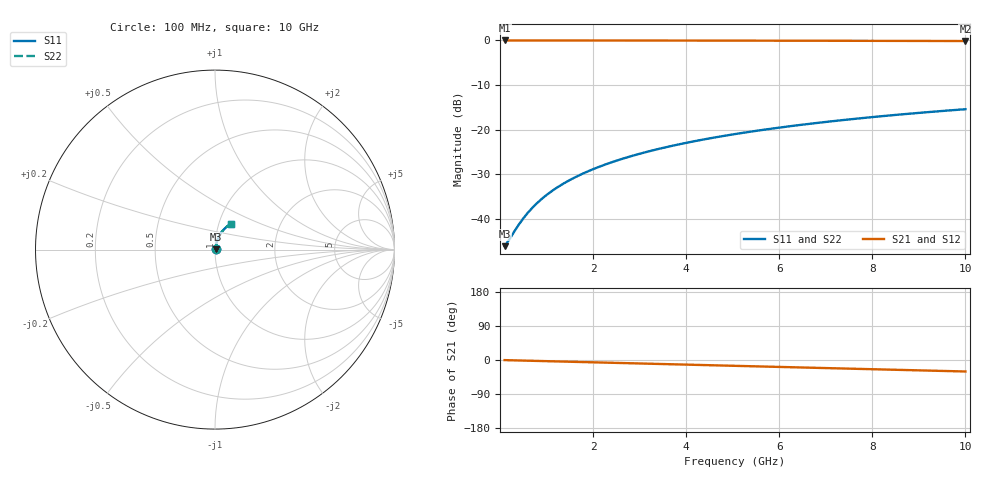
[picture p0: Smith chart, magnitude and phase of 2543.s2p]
# Hz S RI R 50.00
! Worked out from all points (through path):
!   100 points, 100 MHz to 10 GHz, reference 50 ohm
!   highest |S21| = -0.04 dB at 100 MHz (marker M1); lowest = -0.2 dB at 10 GHz (marker M2)
!   group delay of S21, straight-line fit = 8.43 ps
!   lowest |S11| = -46.1 dB at 100 MHz (marker M3), VSWR 1.01, Z = 50.5 + j0.178 ohm
!   |S11| at or under -10 dB: start of sweep to end of sweep
!   |S22| runs from -46.1 to -15.4 dB; largest |S21 - S12| = 0
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1e8  0.0046 0.00176  0.9954 -0.0053  0.9954 -0.0053  0.0046 0.00176
2e8  0.00466 0.00352  0.9953 -0.0106  0.9953 -0.0106  0.00466 0.00352
4e8  0.00481 0.00703  0.9951 -0.0212  0.9951 -0.0212  0.00481 0.00703
5e8  0.00491 0.00879  0.9949 -0.0265  0.9949 -0.0265  0.00491 0.00879
6e8  0.00503 0.0105  0.9947 -0.0318  0.9947 -0.0318  0.00503 0.0105
7e8  0.00516 0.0123  0.9945 -0.0371  0.9945 -0.0371  0.00516 0.0123
8e8  0.00531 0.0141  0.9943 -0.0424  0.9943 -0.0424  0.00531 0.0141
1e9  0.00566 0.0176  0.9937 -0.053  0.9937 -0.053  0.00566 0.0176
1.2e9  0.00609 0.021  0.993 -0.0635  0.993 -0.0635  0.00609 0.021
1.5e9  0.00687 0.0263  0.9917 -0.0794  0.9917 -0.0794  0.00687 0.0263
1.8e9  0.00781 0.0314  0.9901 -0.0952  0.9901 -0.0952  0.00781 0.0314
2.1e9  0.00892 0.0366  0.9882 -0.111  0.9882 -0.111  0.00892 0.0366
2.5e9  0.0106 0.0434  0.9853 -0.1319  0.9853 -0.1319  0.0106 0.0434
2.9e9  0.0127 0.0501  0.982 -0.1528  0.982 -0.1528  0.0127 0.0501
3.4e9  0.0156 0.0584  0.977 -0.1788  0.977 -0.1788  0.0156 0.0584
4.2e9  0.0211 0.0712  0.9676 -0.2199  0.9676 -0.2199  0.0211 0.0712
5.1e9  0.0286 0.0851  0.9547 -0.2655  0.9547 -0.2655  0.0286 0.0851
5.9e9  0.0364 0.0967  0.9414 -0.3053  0.9414 -0.3053  0.0364 0.0967
6.7e9  0.0451 0.1076  0.9262 -0.3443  0.9262 -0.3443  0.0451 0.1076
7.5e9  0.0546 0.1176  0.9093 -0.3824  0.9093 -0.3824  0.0546 0.1176
8.4e9  0.0663 0.128  0.8884 -0.4242  0.8884 -0.4242  0.0663 0.128
1e10  0.0893 0.1433  0.8463 -0.4951  0.8463 -0.4951  0.0893 0.1433
